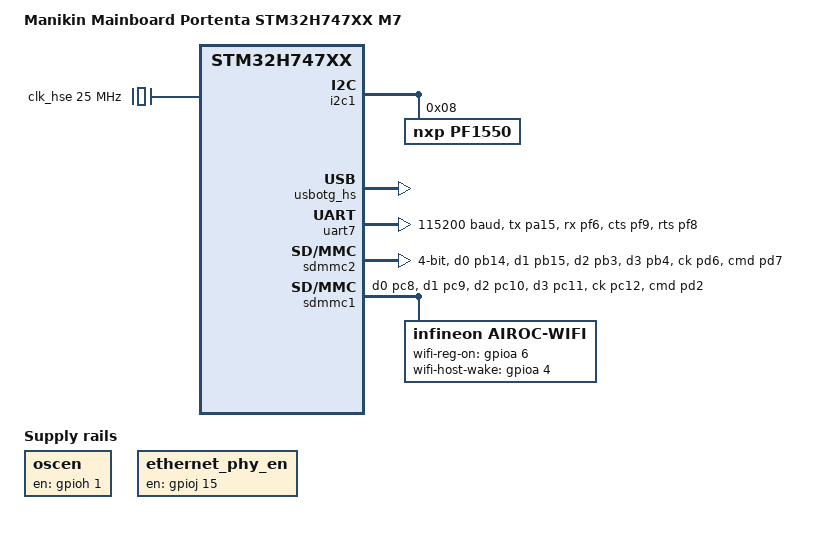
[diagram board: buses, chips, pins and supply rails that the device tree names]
/*
 * Copyright (c) 2022 Benjamin Björnsson <benjamin.bjornsson@gmail.com>.
 *
 * SPDX-License-Identifier: Apache-2.0
 */

 /dts-v1/;
 //#include <st/h7/stm32h747.dtsi>
 #include <st/h7/stm32h747Xi_m7.dtsi>
 #include <st/h7/stm32h747xihx-pinctrl.dtsi>
 #include "manikin_mainboard_portenta-common.dtsi"
 #include <../boards/common/usb/cdc_acm_serial.dtsi>
 
 / {
	 model = "Manikin Mainboard Portenta STM32H747XX M7";
	 compatible = "robotpatient,manikin-mainboard-portenta-stm32h747xx-m7";
 
	 /* HW resources are split between CM7 and CM4 */
	 chosen {
		 zephyr,console = &usart1;
		 zephyr,shell-uart = &usart1;
		 zephyr,sram = &sram0;
		 zephyr,flash = &flash0;
		 zephyr,bt-hci = &bt_hci_uart;
		 zephyr,code-partition = &slot0_partition;
	 };
 
	 oscen: oscen {
		 compatible = "regulator-fixed";
		 regulator-name = "oscen";
		 enable-gpios = <&gpioh 1 GPIO_ACTIVE_HIGH>;
		 regulator-boot-on;
		 status = "okay";
	 };
 
	 ethernet_phy_en: ethernet_phy_en {
		 compatible = "regulator-fixed";
		 regulator-name = "ethernet-phy-reset-release";
		 enable-gpios = <&gpioj 15 GPIO_ACTIVE_HIGH>;
		 regulator-boot-on;
		 status = "okay";
	 };
 
	 sdram1: sdram@c0000000 {
		 compatible = "zephyr,memory-region", "mmio-sram";
		 device_type = "memory";
		 reg = <0xc0000000 DT_SIZE_M(8)>;
		 zephyr,memory-region = "SDRAM1";
		 zephyr,memory-attr = <( DT_MEM_ARM(ATTR_MPU_RAM) )>;
	 };
 };
 
 
 &clk_hse {
	 clock-frequency = <DT_FREQ_M(25)>;
	 hse-bypass;
	 status = "okay";
 };
 
 &clk_hsi {
	 hsi-div = <1>;
	 status = "okay";
 };
 
 &pll {
	 div-m = <5>;
	 mul-n = <96>;
	 div-p = <2>;
	 div-q = <10>;
	 div-r = <2>;
	 clocks = <&clk_hse>;
	 status = "okay";
 };
 
 /** The power supply for the Portenta H7 is based on a ST PSU reference design.
  *  The design specification from this reference design limits the maximum
  *  clock speed to 400 MHz.
  *        Refer: section 8.1 of the reference design guide.
  */
 
 &rcc {
	 clocks = <&pll>;
	 clock-frequency = <DT_FREQ_M(240)>;
 };
 
 /* USART1 is enabled on M4 by default */
 &usart1 {
	 status = "disabled";
 };
 
 &i2c1 {
	 status = "okay";
 
	 pf1550: pmic@8 {
		 status = "okay";
		 reg = <0x8>;
		 compatible = "nxp,pf1550";
 
		 pmic_regulators: regulators {
			 status = "okay";
			 compatible = "nxp,pf1550-regulator";
			 pf1550_sw1: BUCK1 {
				 regulator-init-microvolt = <3000000>;
				 regulator-boot-on;
			 };
			 pf1550_sw2: BUCK2 {
				 regulator-init-microvolt = <3300000>;
				 regulator-boot-on;
			 };
			 pf1550_sw3: BUCK3 {
				 regulator-init-microvolt = <3300000>;
				 regulator-init-microamp = <2000000>;
				 regulator-boot-on;
			 };
			 pf1550_ldo1: LDO1 {
				 regulator-init-microvolt = <1000000>;
				 regulator-boot-on;
			 };
			 pf1550_ldo2: LDO2 {
				 regulator-init-microvolt = <1800000>;
				 regulator-boot-on;
			 };
			 pf1550_ldo3: LDO3 {
				 regulator-init-microvolt = <1200000>;
				 regulator-boot-on;
			 };
		 };
 
		 pmic_charger: charger {
			 status = "okay";
			 compatible = "nxp,pf1550-charger";
			 constant-charge-current-max-microamp = <100000>;
			 constant-charge-voltage-max-microvolt = <4200000>;
			 pf1550,int-gpios = <&gpiok 0 0>;
			 pf1550,led-behaviour = "manual-off";
			 pf1550,system-voltage-min-threshold-microvolt = <3500000>;
			 pf1550,thermistor-monitoring-mode = "thermistor";
			 pf1550,vbus-current-limit-microamp = <1500000>;
		 };
	 };
 };
 
 /* Only one should be enabled */
 &usbotg_fs {
	 status = "disabled";
 };
 
 &usbotg_hs {
	 status = "okay";
 };
 
 &flash0 {
	 partitions {
		 compatible = "fixed-partitions";
		 #address-cells = <1>;
		 #size-cells = <1>;
 
		 /* The arduino default bootloader occupies the address space 0x0 - 0x40000.
		  * This way regardless of the user's choice to use the mcuboot bootloader,
		  * applications will be located at 0x40000 which will be loaded by the
		  * arduino bootloader.
		  */
		 slot0_partition: partition@ff800 {
			 label = "image-0";
			 reg = <0x000ff800 DT_SIZE_K(2)>;
		 };
	 };
 };
 
 &uart7 {
	 pinctrl-0 = <&uart7_tx_pa15 &uart7_rx_pf6
			  &uart7_cts_pf9 &uart7_rts_pf8>;
	 pinctrl-names = "default";
	 current-speed = <115200>;
	 hw-flow-control;
	 status = "okay";
 
	 bt_hci_uart: bt_hci_uart {
		 compatible = "zephyr,bt-hci-uart";
		 status = "okay";
 
		 murata-1dx {
			 compatible = "infineon,cyw43xxx-bt-hci";
			 bt-reg-on-gpios = <&gpioj 12 GPIO_ACTIVE_HIGH>;
			 bt-host-wake-gpios = <&gpioj 13 GPIO_ACTIVE_HIGH>;
			 bt-dev-wake-gpios = <&gpioj 14 GPIO_ACTIVE_HIGH>;
		 };
	 };
 };

 &sdmmc2 {
    bus-width = <4>;
    pinctrl-0 = <&sdmmc2_d0_pb14 &sdmmc2_d1_pb15 &sdmmc2_d2_pb3 &sdmmc2_d3_pb4 &sdmmc2_ck_pd6 &sdmmc2_cmd_pd7>;
    pinctrl-names = "default";
	status = "okay";
	clk-div = <1>; 
	disk-name = "SD";
	idma;
};

&sdmmc1 {
    pinctrl-0 = <&sdmmc1_d0_pc8 &sdmmc1_d1_pc9 &sdmmc1_d2_pc10 &sdmmc1_d3_pc11 &sdmmc1_ck_pc12 &sdmmc1_cmd_pd2>;
	pinctrl-names = "default";
	status = "okay";
	airoc-wifi {
      status = "okay";
      compatible = "infineon,airoc-wifi";

      /* Wi-Fi control gpios */
      wifi-reg-on-gpios    = <&gpioa 6 GPIO_ACTIVE_HIGH>;
      wifi-host-wake-gpios = <&gpioa 4 GPIO_ACTIVE_HIGH>;
    };
};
